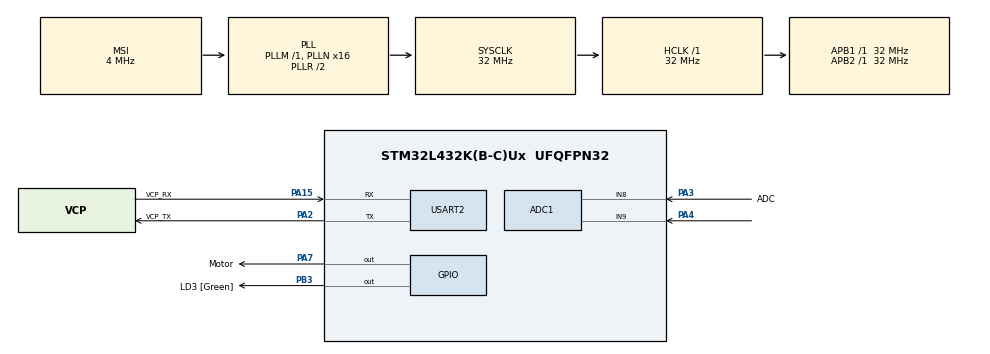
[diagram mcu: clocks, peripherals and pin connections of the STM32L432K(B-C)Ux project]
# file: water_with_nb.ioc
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ADC1.Channel-0\#ChannelRegularConversion=ADC_CHANNEL_8
ADC1.NbrOfConversionFlag=1
ADC1.OffsetNumber-0\#ChannelRegularConversion=ADC_OFFSET_NONE
ADC1.Rank-0\#ChannelRegularConversion=1
ADC1.SamplingTime-0\#ChannelRegularConversion=ADC_SAMPLETIME_2CYCLES_5
ADC1.SingleDiff-0\#ChannelRegularConversion=ADC_DIFFERENTIAL_ENDED
ADC1.master=1
Mcu.Family=STM32L4
Mcu.Name=STM32L432K(B-C)Ux
Mcu.Package=UFQFPN32
NVIC.PriorityGroup=NVIC_PRIORITYGROUP_4
PA0.GPIO_Label=MCO [High speed clock in]
PA0.Mode=HSE-External-Clock-Source-for-LittleOrca
PA0.Signal=RCC_CK_IN
PA13\ (JTMS-SWDIO).GPIO_Label=SWDIO
PA13\ (JTMS-SWDIO).Mode=Serial_Wire
PA13\ (JTMS-SWDIO).Signal=SYS_JTMS-SWDIO
PA14\ (JTCK-SWCLK).GPIO_Label=SWCLK
PA14\ (JTCK-SWCLK).Mode=Serial_Wire
PA14\ (JTCK-SWCLK).Signal=SYS_JTCK-SWCLK
PA15\ (JTDI).GPIO_Label=VCP_RX
PA15\ (JTDI).Mode=Asynchronous
PA15\ (JTDI).Signal=USART2_RX
PA2.GPIO_Label=VCP_TX
PA2.Mode=Asynchronous
PA2.Signal=USART2_TX
PA3.GPIO_Label=ADC
PA3.Signal=ADCx_IN8
PA4.Signal=ADCx_IN9
PA7.GPIO_Label=Motor
PA7.Signal=GPIO_Output
PB3\ (JTDO-TRACESWO).GPIO_Label=LD3 [Green]
PB3\ (JTDO-TRACESWO).Signal=GPIO_Output
PC14-OSC32_IN\ (PC14).Mode=LSE-External-Oscillator
PC14-OSC32_IN\ (PC14).Signal=RCC_OSC32_IN
PC15-OSC32_OUT\ (PC15).Mode=LSE-External-Oscillator
PC15-OSC32_OUT\ (PC15).Signal=RCC_OSC32_OUT
ProjectManager.HeapSize=0x200
ProjectManager.StackSize=0x400
ProjectManager.TargetToolchain=Makefile
RCC.ADCFreq_Value=32000000
RCC.AHBFreq_Value=32000000
RCC.APB1Freq_Value=32000000
RCC.APB1TimFreq_Value=32000000
RCC.APB2Freq_Value=32000000
RCC.APB2TimFreq_Value=32000000
RCC.CortexFreq_Value=32000000
RCC.HCLKFreq_Value=32000000
RCC.HSE_VALUE=8000000
RCC.HSI16_VALUE=16000000
RCC.HSI48_VALUE=48000000
RCC.HSI_VALUE=16000000
RCC.MSI_VALUE=4000000
RCC.PLLMUL=RCC_PLLMUL_4
RCC.PLLN=16
RCC.PLLSAI1N=16
RCC.SYSCLKFreq_VALUE=32000000
RCC.SYSCLKSource=RCC_SYSCLKSOURCE_PLLCLK
RCC.USBFreq_Value=32000000
RCC.VCOOutputFreq_Value=64000000
SH.ADCx_IN8.0=ADC1_IN8,IN8-Differential
SH.ADCx_IN9.0=ADC1_IN9,IN8-Differential
USART2.VirtualMode-Asynchronous=VM_ASYNC
board=NUCLEO-L432KC

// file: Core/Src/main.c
/* USER CODE BEGIN Header */
/**
  ******************************************************************************
  * @file           : main.c
  * @brief          : Main program body
  ******************************************************************************
  * @attention
  *
  * <h2><center>&copy; Copyright (c) 2022 STMicroelectronics.
  * All rights reserved.</center></h2>
  *
  * This software component is licensed by ST under BSD 3-Clause license,
  * the "License"; You may not use this file except in compliance with the
  * License. You may obtain a copy of the License at:
  *                        opensource.org/licenses/BSD-3-Clause
  *
  ******************************************************************************
  */
/* USER CODE END Header */
#include "main.h"
#include <stdio.h>
#include <stdlib.h>
#include <string.h>

ADC_HandleTypeDef hadc1;

UART_HandleTypeDef huart2;

void SystemClock_Config(void);
static void MX_GPIO_Init(void);
static void MX_ADC1_Init(void);
static void MX_USART2_UART_Init(void);

/* USER CODE BEGIN 0 */
int trocken=600;
int feucht_genug=350;
volatile int humidity;
char buffer[50];
/**
 * @brief wrapper function to print integers
 * @param to_print value to be printed
 */
void print_value(int to_print){
    snprintf(buffer,sizeof(buffer),"%d\r\n",to_print);
    HAL_UART_Transmit(&huart2,(uint8_t *) buffer ,strlen(buffer),100);
}

/**
 * @brief computes an average of 8 values of measured humidity. It will delay for 10 ms between measurements
 * @return the average
 */
int average_humidity(void){
    int average=0;
    for(int i=0;i<8;i++){
    HAL_ADC_Start(&hadc1);
    HAL_ADC_PollForConversion(&hadc1,200);
    humidity= HAL_ADC_GetValue(&hadc1);
    average+=humidity;
    HAL_Delay(10);
    }
    print_value(average/8);
    return (average/8);
}

/**
 * @brief checks if the value of average is smaller than the value for dry
 * @return 1 if average is greater than dry and 0 if it is not
 */
int too_dry_average(void){
    if(average_humidity()>trocken){
        return 1;
    }else{
        return 0;
    }
}

/**
 * @brief checks if the value of one measurement is smaller than the value for dry
 * @return 1 if average is greater than dry and 0 if it is not
 */

int too_dry_once(void){
    HAL_ADC_Start(&hadc1);
    HAL_ADC_PollForConversion(&hadc1,200);
    humidity= HAL_ADC_GetValue(&hadc1);
    print_value(humidity);
    if(humidity<feucht_genug){
        return 1;
    }else{
        return 0;
    }
}

/**
 * @brief motor will be activated for 1 second and will be stopped for 5 seconds to let the water spread out
 */

void water_plant(void){
    HAL_GPIO_WritePin(Motor_GPIO_Port, Motor_Pin,GPIO_PIN_SET);
    HAL_Delay(1000);
    HAL_GPIO_WritePin(Motor_GPIO_Port, Motor_Pin,GPIO_PIN_RESET);
    HAL_Delay(5000);
}

/**
 * @brief if the average is over the dry value the system will water the plant until a humidity value is reached.
 */

void watering_system (void){
    if(too_dry_average()){
        while(too_dry_once()){
        water_plant();
        }
    }
}

/* USER CODE END 0 */

int main(void)
{

  /* MCU Configuration--------------------------------------------------------*/

  /* Reset of all peripherals, Initializes the Flash interface and the Systick. */
  HAL_Init();

  /* Configure the system clock */
  SystemClock_Config();

  /* Initialize all configured peripherals */
  MX_GPIO_Init();
  MX_ADC1_Init();
  MX_USART2_UART_Init();

  /* Infinite loop */
  /* USER CODE BEGIN WHILE */
    char buffer[100];

  while (1)
  {
    /* USER CODE END WHILE */
      watering_system();
      //print_value(average_humidity());
  }
}

void SystemClock_Config(void)
{
  RCC_OscInitTypeDef RCC_OscInitStruct = {0};
  RCC_ClkInitTypeDef RCC_ClkInitStruct = {0};

  /** Configure the main internal regulator output voltage
  */
  if (HAL_PWREx_ControlVoltageScaling(PWR_REGULATOR_VOLTAGE_SCALE1) != HAL_OK)
  {
    Error_Handler();
  }
  /** Configure LSE Drive Capability
  */
  HAL_PWR_EnableBkUpAccess();
  __HAL_RCC_LSEDRIVE_CONFIG(RCC_LSEDRIVE_LOW);
  /** Initializes the RCC Oscillators according to the specified parameters
  * in the RCC_OscInitTypeDef structure.
  */
  RCC_OscInitStruct.OscillatorType = RCC_OSCILLATORTYPE_LSE|RCC_OSCILLATORTYPE_MSI;
  RCC_OscInitStruct.LSEState = RCC_LSE_ON;
  RCC_OscInitStruct.MSIState = RCC_MSI_ON;
  RCC_OscInitStruct.MSICalibrationValue = 0;
  RCC_OscInitStruct.MSIClockRange = RCC_MSIRANGE_6;
  RCC_OscInitStruct.PLL.PLLState = RCC_PLL_ON;
  RCC_OscInitStruct.PLL.PLLSource = RCC_PLLSOURCE_MSI;
  RCC_OscInitStruct.PLL.PLLM = 1;
  RCC_OscInitStruct.PLL.PLLN = 16;
  RCC_OscInitStruct.PLL.PLLP = RCC_PLLP_DIV7;
  RCC_OscInitStruct.PLL.PLLQ = RCC_PLLQ_DIV2;
  RCC_OscInitStruct.PLL.PLLR = RCC_PLLR_DIV2;
  if (HAL_RCC_OscConfig(&RCC_OscInitStruct) != HAL_OK)
  {
    Error_Handler();
  }
  /** Initializes the CPU, AHB and APB buses clocks
  */
  RCC_ClkInitStruct.ClockType = RCC_CLOCKTYPE_HCLK|RCC_CLOCKTYPE_SYSCLK
                              |RCC_CLOCKTYPE_PCLK1|RCC_CLOCKTYPE_PCLK2;
  RCC_ClkInitStruct.SYSCLKSource = RCC_SYSCLKSOURCE_PLLCLK;
  RCC_ClkInitStruct.AHBCLKDivider = RCC_SYSCLK_DIV1;
  RCC_ClkInitStruct.APB1CLKDivider = RCC_HCLK_DIV1;
  RCC_ClkInitStruct.APB2CLKDivider = RCC_HCLK_DIV1;

  if (HAL_RCC_ClockConfig(&RCC_ClkInitStruct, FLASH_LATENCY_1) != HAL_OK)
  {
    Error_Handler();
  }
  /** Enable MSI Auto calibration
  */
  HAL_RCCEx_EnableMSIPLLMode();
}

static void MX_ADC1_Init(void)
{

  ADC_ChannelConfTypeDef sConfig = {0};

  /** Common config
  */
  hadc1.Instance = ADC1;
  hadc1.Init.ClockPrescaler = ADC_CLOCK_ASYNC_DIV1;
  hadc1.Init.Resolution = ADC_RESOLUTION_12B;
  hadc1.Init.DataAlign = ADC_DATAALIGN_RIGHT;
  hadc1.Init.ScanConvMode = ADC_SCAN_DISABLE;
  hadc1.Init.EOCSelection = ADC_EOC_SINGLE_CONV;
  hadc1.Init.LowPowerAutoWait = DISABLE;
  hadc1.Init.ContinuousConvMode = DISABLE;
  hadc1.Init.NbrOfConversion = 1;
  hadc1.Init.DiscontinuousConvMode = DISABLE;
  hadc1.Init.ExternalTrigConv = ADC_SOFTWARE_START;
  hadc1.Init.ExternalTrigConvEdge = ADC_EXTERNALTRIGCONVEDGE_NONE;
  hadc1.Init.DMAContinuousRequests = DISABLE;
  hadc1.Init.Overrun = ADC_OVR_DATA_PRESERVED;
  hadc1.Init.OversamplingMode = DISABLE;
  if (HAL_ADC_Init(&hadc1) != HAL_OK)
  {
    Error_Handler();
  }
  /** Configure Regular Channel
  */
  sConfig.Channel = ADC_CHANNEL_8;
  sConfig.Rank = ADC_REGULAR_RANK_1;
  sConfig.SamplingTime = ADC_SAMPLETIME_2CYCLES_5;
  sConfig.SingleDiff = ADC_SINGLE_ENDED;
  sConfig.OffsetNumber = ADC_OFFSET_NONE;
  sConfig.Offset = 0;
  if (HAL_ADC_ConfigChannel(&hadc1, &sConfig) != HAL_OK)
  {
    Error_Handler();
  }

}

static void MX_USART2_UART_Init(void)
{

  huart2.Instance = USART2;
  huart2.Init.BaudRate = 115200;
  huart2.Init.WordLength = UART_WORDLENGTH_8B;
  huart2.Init.StopBits = UART_STOPBITS_1;
  huart2.Init.Parity = UART_PARITY_NONE;
  huart2.Init.Mode = UART_MODE_TX_RX;
  huart2.Init.HwFlowCtl = UART_HWCONTROL_NONE;
  huart2.Init.OverSampling = UART_OVERSAMPLING_16;
  huart2.Init.OneBitSampling = UART_ONE_BIT_SAMPLE_DISABLE;
  huart2.AdvancedInit.AdvFeatureInit = UART_ADVFEATURE_NO_INIT;
  if (HAL_UART_Init(&huart2) != HAL_OK)
  {
    Error_Handler();
  }

}

static void MX_GPIO_Init(void)
{
  GPIO_InitTypeDef GPIO_InitStruct = {0};

  /* GPIO Ports Clock Enable */
  __HAL_RCC_GPIOC_CLK_ENABLE();
  __HAL_RCC_GPIOA_CLK_ENABLE();
  __HAL_RCC_GPIOB_CLK_ENABLE();

  /*Configure GPIO pin Output Level */
  HAL_GPIO_WritePin(Motor_GPIO_Port, Motor_Pin, GPIO_PIN_RESET);

  /*Configure GPIO pin Output Level */
  HAL_GPIO_WritePin(LD3_GPIO_Port, LD3_Pin, GPIO_PIN_RESET);

  /*Configure GPIO pin : Motor_Pin */
  GPIO_InitStruct.Pin = Motor_Pin;
  GPIO_InitStruct.Mode = GPIO_MODE_OUTPUT_PP;
  GPIO_InitStruct.Pull = GPIO_NOPULL;
  GPIO_InitStruct.Speed = GPIO_SPEED_FREQ_LOW;
  HAL_GPIO_Init(Motor_GPIO_Port, &GPIO_InitStruct);

  /*Configure GPIO pin : LD3_Pin */
  GPIO_InitStruct.Pin = LD3_Pin;
  GPIO_InitStruct.Mode = GPIO_MODE_OUTPUT_PP;
  GPIO_InitStruct.Pull = GPIO_NOPULL;
  GPIO_InitStruct.Speed = GPIO_SPEED_FREQ_LOW;
  HAL_GPIO_Init(LD3_GPIO_Port, &GPIO_InitStruct);

}

void Error_Handler(void)
{
  __disable_irq();
  while (1)
  {
  }
}

/************************ (C) COPYRIGHT STMicroelectronics *****END OF FILE****/
